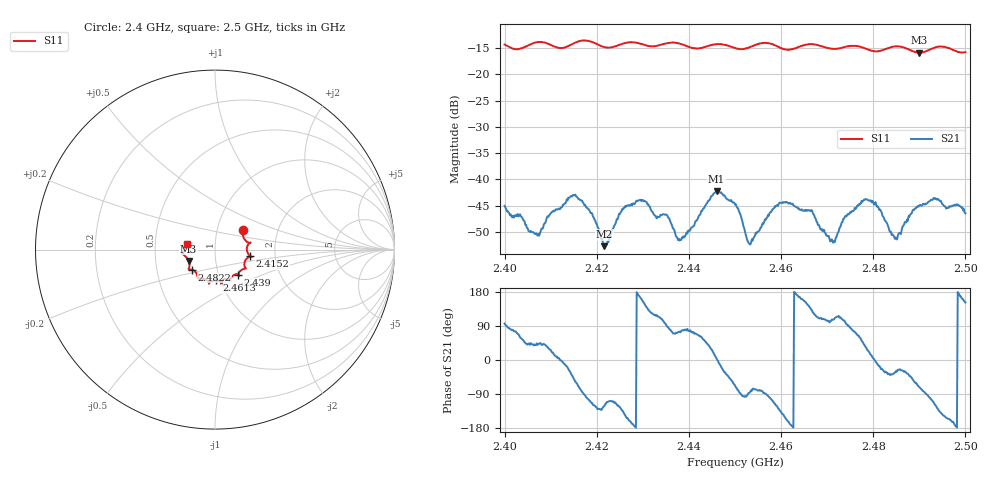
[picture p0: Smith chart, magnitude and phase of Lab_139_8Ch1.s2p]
# Hz S RI R 50
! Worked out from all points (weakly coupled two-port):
!   601 points, 2.4 GHz to 2.5 GHz, reference 50 ohm
!   highest |S21| = -42.21 dB at 2.446 GHz (marker M1); lowest = -52.7 dB at 2.4217 GHz (marker M2)
!   lowest |S11| = -15.9 dB at 2.49 GHz (marker M3), VSWR 1.38, Z = 36.9 - j4.83 ohm
!   |S11| at or under -10 dB: start of sweep to end of sweep
!   S12 and S22 are empty: the file has one direction only
!   S11 on the Smith chart (normalised r, x): 2.4 GHz: 1.33, +0.31; 2.4152 GHz: 1.48, -0.11; 2.439 GHz: 1.24, -0.36; 2.4613 GHz: 0.96, -0.34; 2.4822 GHz: 0.76, -0.17; 2.5 GHz: 0.72, +0.05
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2.4e9  0.1559 0.1114  -0.000614 0.00558  0 0  0 0
2.407167e9  0.1983 0.0382  0.00223 0.00189  0 0  0 0
2.415167e9  0.1948 -0.0363  0.00425 -0.00563  0 0  0 0
2.416667e9  0.2045 -0.0422  0.000923 -0.00622  0 0  0 0
2.421667e9  0.1724 -0.0553  -0.0012 -0.00198  0 0  0 0
2.426333e9  0.1701 -0.1026  -0.00472 -0.00283  0 0  0 0
2.430333e9  0.1554 -0.1093  -0.00538 0.00319  0 0  0 0
2.433333e9  0.133 -0.1324  -0.0018 0.00398  0 0  0 0
2.439e9  0.128 -0.139  0.000487 0.00277  0 0  0 0
2.446e9  0.0852 -0.1736  0.00774 0.000492  0 0  0 0
2.45e9  0.0689 -0.1636  0.00225 -0.00532  0 0  0 0
2.453333e9  0.0369 -0.1779  0.00026 -0.0024  0 0  0 0
2.461333e9  0.00777 -0.1708  -0.00566 -0.00215  0 0  0 0
2.466667e9  -0.0333 -0.1904  -0.00339 0.00381  0 0  0 0
2.471167e9  -0.0556 -0.1652  -0.000725 0.00246  0 0  0 0
2.478e9  -0.0971 -0.1489  0.00487 0.00419  0 0  0 0
2.482167e9  -0.1281 -0.1119  0.00391 -0.00207  0 0  0 0
2.483333e9  -0.1394 -0.1105  0.00283 -0.00204  0 0  0 0
2.485167e9  -0.1476 -0.1106  0.00233 -0.00136  0 0  0 0
2.49e9  -0.1469 -0.0637  0.0018 -0.00534  0 0  0 0
2.4935e9  -0.1785 -0.0254  -0.00327 -0.00575  0 0  0 0
2.5e9  -0.1585 0.0335  -0.00418 0.00225  0 0  0 0
